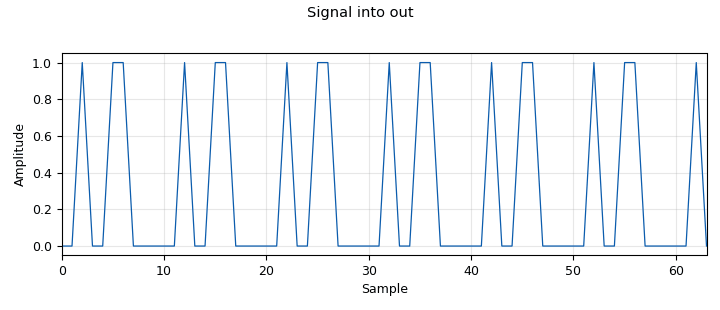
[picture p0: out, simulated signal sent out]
options:
  parameters:
    author: pzawadzki
    generate_options: hb
    id: rand_bitstream
    output_language: python
    title: Random Bitstream
  states: {}

blocks:
- name: analog_random_source_x_0
  id: analog_random_source_x
  parameters:
    max: '2'
    min: '0'
    num_samps: '10'
    repeat: 'True'
    type: byte
  states: {}
- name: blocks_stream_to_tagged_stream_0
  id: blocks_stream_to_tagged_stream
  parameters:
    len_tag_key: len_key
    packet_len: length
    type: byte
  states: {}
- name: len_key
  id: parameter
  parameters:
    label: 'Length Tag Key:'
    type: str
    value: '"packet_len"'
  states: {}
- name: length
  id: parameter
  parameters:
    label: 'Length:'
    type: intx
    value: '10'
  states: {}
- name: out
  id: pad_sink
  parameters:
    label: bits_out
    type: byte
  states: {}

connections:
- [analog_random_source_x_0, '0', blocks_stream_to_tagged_stream_0, '0']
- [blocks_stream_to_tagged_stream_0, '0', out, '0']

metadata:
  file_format: 1
  grc_version: 3.10.8.0
